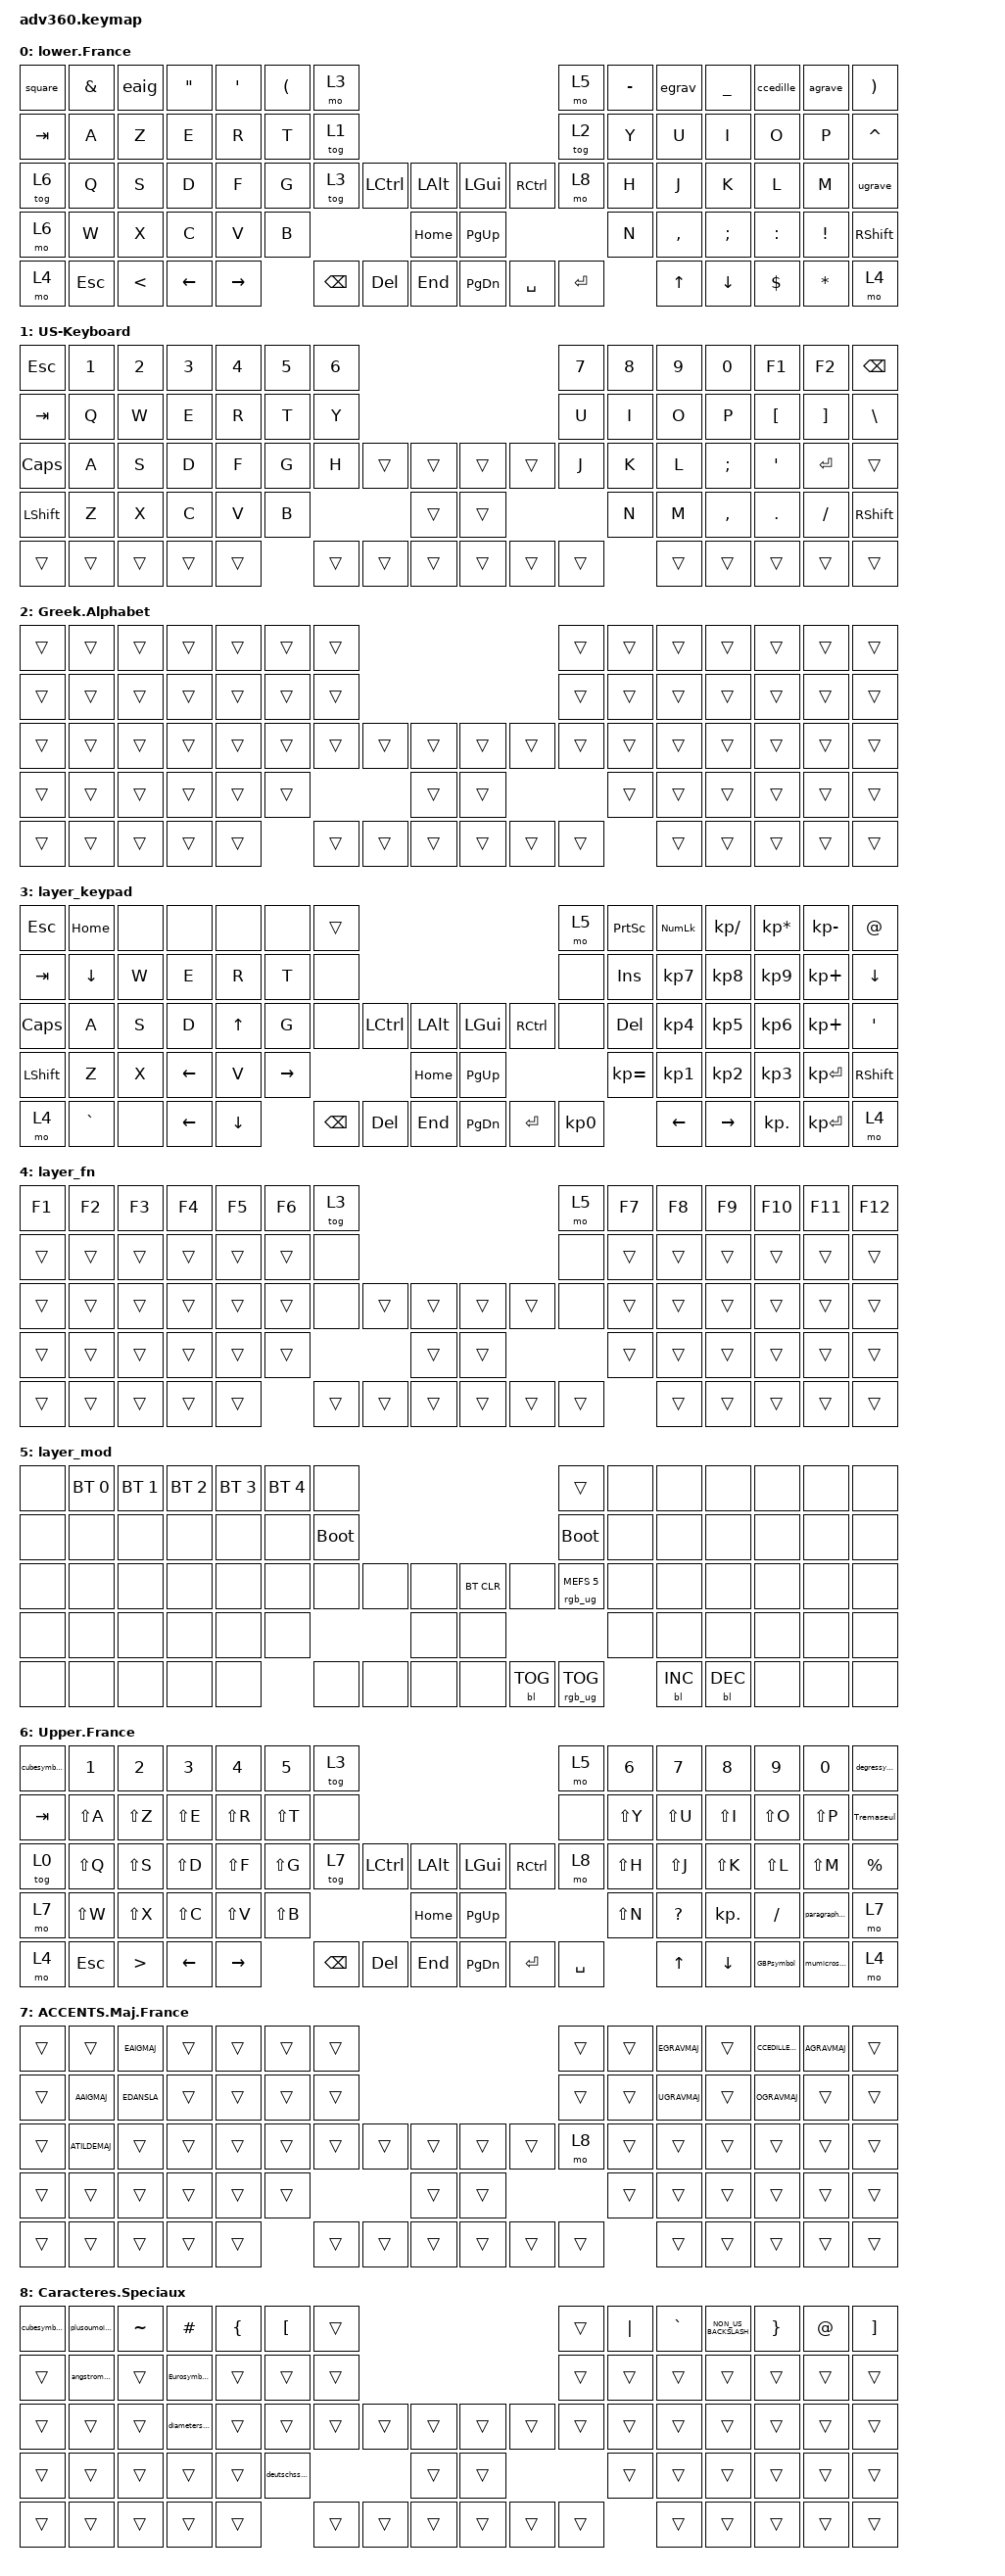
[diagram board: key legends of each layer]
/*
 * Copyright (c) 2020 The ZMK Contributors
 *
 * SPDX-License-Identifier: MIT
 */
/* THIS FILE WAS GENERATED!
 *
 * This file was generated automatically. You may or may not want to
 * edit it directly.
 */

#include <behaviors.dtsi>
#include <dt-bindings/zmk/backlight.h>
#include <dt-bindings/zmk/bt.h>
#include <dt-bindings/zmk/keys.h>
#include <dt-bindings/zmk/rgb.h>

/ {
    behaviors {
        #include "macros.dtsi"

        hm: homerow_mods {
            compatible = "zmk,behavior-hold-tap";
            label = "HOMEROW_MODS";
            #binding-cells = <2>;
            tapping-term-ms = <200>;
            quick_tap_ms = <175>;
            flavor = "tap-preferred";
            bindings = <&kp>, <&kp>;
        };
    };

    macros {
        eaig: eaig {
            compatible = "zmk,behavior-macro";
            #binding-cells = <0>;
            bindings = <>;
            label = "EAIG";
        };

        egrav: egrav {
            compatible = "zmk,behavior-macro";
            #binding-cells = <0>;
            bindings = <>;
            label = "EGRAV";
        };

        ccedille: ccedille {
            compatible = "zmk,behavior-macro";
            #binding-cells = <0>;
            bindings = <>;
            label = "CCEDILLE";
        };

        agrave: agrave {
            compatible = "zmk,behavior-macro";
            #binding-cells = <0>;
            bindings = <>;
            label = "AGRAVE";
        };

        ugrave: ugrave {
            compatible = "zmk,behavior-macro";
            #binding-cells = <0>;
            bindings = <>;
            label = "UGRAVE";
        };

        square: square {
            compatible = "zmk,behavior-macro";
            #binding-cells = <0>;
            bindings = <>;
            label = "SQUARE";
        };

        GBPsymbol: GBPsign {
            compatible = "zmk,behavior-macro";
            #binding-cells = <0>;
            bindings = <>;
            label = "GBPSIGN";
        };

        mumicrosymbol: mumicrosymbol {
            compatible = "zmk,behavior-macro";
            #binding-cells = <0>;
            bindings = <>;
            label = "MUMICROSYMBOL";
        };

        paragraphsymbol: paragraphsymbol {
            compatible = "zmk,behavior-macro";
            #binding-cells = <0>;
            bindings = <>;
            label = "PARAGRAPHSYMBOL";
        };

        EAIGMAJ: EAIGMAJ {
            compatible = "zmk,behavior-macro";
            #binding-cells = <0>;
            bindings = <>;
            label = "EAIGMAJ";
        };

        EGRAVMAJ: EGRAVMAJ {
            compatible = "zmk,behavior-macro";
            #binding-cells = <0>;
            bindings = <>;
            label = "EGRAVMAJ";
        };

        AGRAVMAJ: AGRAVMAJ {
            compatible = "zmk,behavior-macro";
            #binding-cells = <0>;
            bindings = <>;
            label = "AGRAVMAJ";
        };

        ETREMAMAJ: ETREMAMAJ {
            compatible = "zmk,behavior-macro";
            #binding-cells = <0>;
            bindings = <>;
            label = "ETREMAMAJ";
        };

        UGRAVMAJ: UGRAVMAJ {
            compatible = "zmk,behavior-macro";
            #binding-cells = <0>;
            bindings = <>;
            label = "UGRAVMAJ";
        };

        OGRAVMAJ: OGRAVMAJ {
            compatible = "zmk,behavior-macro";
            #binding-cells = <0>;
            bindings = <>;
            label = "OGRAVMAJ";
        };

        CCEDILLEMAJ: CCEDILLEMAJ {
            compatible = "zmk,behavior-macro";
            #binding-cells = <0>;
            bindings = <>;
            label = "CCEDILLEMAJ";
        };

        EDANSLA: EDANSLA {
            compatible = "zmk,behavior-macro";
            #binding-cells = <0>;
            bindings = <>;
            label = "EDANSLA";
        };

        AAIGMAJ: AAIGMAJ {
            compatible = "zmk,behavior-macro";
            #binding-cells = <0>;
            bindings = <>;
            label = "AAIGMAJ";
        };

        ATILDEMAJ: ATILDEMAJ {
            compatible = "zmk,behavior-macro";
            #binding-cells = <0>;
            bindings = <>;
            label = "ATILDEMAJ";
        };

        Tremaseul: Tremaseul {
            compatible = "zmk,behavior-macro";
            #binding-cells = <0>;
            bindings = <>;
            label = "TREMASEUL";
        };

        degressymbole: degressymbole {
            compatible = "zmk,behavior-macro";
            #binding-cells = <0>;
            bindings = <>;
            label = "DEGRESSYMBOLE";
        };

        Tildeseul: Tildeseul {
            compatible = "zmk,behavior-macro";
            #binding-cells = <0>;
            bindings = <&kp TILDE>;
            label = "TILDESEUL";
        };

        plusoumoinssymbole: plusoumoinssymbole {
            compatible = "zmk,behavior-macro";
            #binding-cells = <0>;
            bindings = <>;
            label = "PLUSOUMOINSSYMBOLE";
        };

        cubesymbole: cubesymbole {
            compatible = "zmk,behavior-macro";
            #binding-cells = <0>;
            bindings = <>;
            label = "CUBESYMBOLE";
        };

        Eurosymbole: Eurosymbole {
            compatible = "zmk,behavior-macro";
            #binding-cells = <0>;
            bindings = <>;
            label = "EUROSYMBOLE";
        };

        angstromsymbole: angstromsymbole {
            compatible = "zmk,behavior-macro";
            #binding-cells = <0>;
            bindings = <>;
            label = "ANGSTROMSYMBOLE";
        };

        diametersymbol: diametersymbol {
            compatible = "zmk,behavior-macro";
            #binding-cells = <0>;
            bindings = <>;
            label = "DIAMETERSYMBOL";
        };

        deutschssetletter: litersymbol {
            compatible = "zmk,behavior-macro";
            #binding-cells = <0>;
            bindings = <>;
            label = "LITERSYMBOL";
        };

        edanslamin: edanslamin {
            compatible = "zmk,behavior-macro";
            #binding-cells = <0>;
            bindings = <>;
            label = "EDANSLAMIN";
        };

        edanslomin: edanslomin {
            compatible = "zmk,behavior-macro";
            #binding-cells = <0>;
            bindings = <>;
            label = "EDANSLOMIN";
        };
    };

    combos {
        compatible = "zmk,combos";

        edanslamin {
            bindings = <&edanslamin>;
            key-positions = <15 17>;
        };

        edanslomin {
            bindings = <&edanslomin>;
            key-positions = <17 25>;
        };
    };

    keymap {
        compatible = "zmk,keymap";

        lower.France {
            bindings = <
&square  &kp AMPERSAND  &eaig          &kp DOUBLE_QUOTES  &kp APOS   &kp LEFT_PARENTHESIS  &mo 3                                                    &mo 5      &kp MINUS  &egrav     &kp UNDERSCORE  &ccedille   &agrave    &kp RIGHT_PARENTHESIS
&kp TAB  &kp A          &kp Z          &kp E              &kp R      &kp T                 &tog 1                                                   &tog 2     &kp Y      &kp U      &kp I           &kp O       &kp P      &kp CARET
&tog 6   &kp Q          &kp S          &kp D              &kp F      &kp G                 &tog 3    &kp LCTRL  &kp LALT      &kp LGUI   &kp RCTRL  &mo 8      &kp H      &kp J      &kp K           &kp L       &kp M      &ugrave
&mo 6    &kp W          &kp X          &kp C              &kp V      &kp B                                      &kp HOME      &kp PG_UP                        &kp N      &kp COMMA  &kp SEMICOLON   &kp COLON   &kp EXCL   &kp RSHFT
&mo 4    &kp ESC        &kp LESS_THAN  &kp LEFT           &kp RIGHT                        &kp BSPC  &kp DEL    &kp END       &kp PG_DN  &kp SPACE  &kp ENTER             &kp UP     &kp DOWN        &kp DOLLAR  &kp ASTRK  &mo 4
            >;
        };

        US-Keyboard {
            bindings = <
&kp ESC    &kp N1  &kp N2  &kp N3  &kp N4  &kp N5  &kp N6                                      &kp N7  &kp N8  &kp N9  &kp N0     &kp F1    &kp F2     &kp BSPC
&kp TAB    &kp Q   &kp W   &kp E   &kp R   &kp T   &kp Y                                       &kp U   &kp I   &kp O   &kp P      &kp LBKT  &kp RBKT   &kp BSLH
&kp CAPS   &kp A   &kp S   &kp D   &kp F   &kp G   &kp H   &trans  &trans      &trans  &trans  &kp J   &kp K   &kp L   &kp SEMI   &kp APOS  &kp ENTER  &trans
&kp LSHFT  &kp Z   &kp X   &kp C   &kp V   &kp B                   &trans      &trans                  &kp N   &kp M   &kp COMMA  &kp DOT   &kp FSLH   &kp RSHFT
&trans     &trans  &trans  &trans  &trans          &trans  &trans  &trans      &trans  &trans  &trans          &trans  &trans     &trans    &trans     &trans
            >;
        };

        Greek.Alphabet {
            bindings = <
&trans  &trans  &trans  &trans  &trans  &trans  &trans                                      &trans  &trans  &trans  &trans  &trans  &trans  &trans
&trans  &trans  &trans  &trans  &trans  &trans  &trans                                      &trans  &trans  &trans  &trans  &trans  &trans  &trans
&trans  &trans  &trans  &trans  &trans  &trans  &trans  &trans  &trans      &trans  &trans  &trans  &trans  &trans  &trans  &trans  &trans  &trans
&trans  &trans  &trans  &trans  &trans  &trans                  &trans      &trans                  &trans  &trans  &trans  &trans  &trans  &trans
&trans  &trans  &trans  &trans  &trans          &trans  &trans  &trans      &trans  &trans  &trans          &trans  &trans  &trans  &trans  &trans
            >;
        };

        layer_keypad {
            bindings = <
&kp ESCAPE    &kp HOME        &none  &none           &none         &none      &trans                                                   &mo 5      &kp PRINTSCREEN  &kp KP_NUM  &kp KP_SLASH  &kp KP_MULTIPLY  &kp KP_MINUS  &kp AT
&kp TAB       &kp DOWN_ARROW  &kp W  &kp E           &kp R         &kp T      &none                                                    &none      &kp INS          &kp KP_N7   &kp KP_N8     &kp KP_N9        &kp KP_PLUS   &kp DOWN
&kp CAPSLOCK  &kp A           &kp S  &kp D           &kp UP_ARROW  &kp G      &none     &kp LCTRL  &kp LALT      &kp LGUI   &kp RCTRL  &none      &kp DEL          &kp KP_N4   &kp KP_N5     &kp KP_N6        &kp KP_PLUS   &kp SQT
&kp LSHFT     &kp Z           &kp X  &kp LEFT_ARROW  &kp V         &kp RIGHT                       &kp HOME      &kp PG_UP                        &kp KP_EQUAL     &kp KP_N1   &kp KP_N2     &kp KP_N3        &kp KP_ENTER  &kp RSHFT
&mo 4         &kp GRAVE       &none  &kp LEFT        &kp DOWN                 &kp BSPC  &kp DEL    &kp END       &kp PG_DN  &kp ENTER  &kp KP_N0                   &kp LEFT    &kp RIGHT     &kp KP_DOT       &kp KP_ENTER  &mo 4
            >;
        };

        layer_fn {
            bindings = <
&kp F1  &kp F2  &kp F3  &kp F4  &kp F5  &kp F6  &tog 3                                      &mo 5   &kp F7  &kp F8  &kp F9  &kp F10  &kp F11  &kp F12
&trans  &trans  &trans  &trans  &trans  &trans  &none                                       &none   &trans  &trans  &trans  &trans   &trans   &trans
&trans  &trans  &trans  &trans  &trans  &trans  &none   &trans  &trans      &trans  &trans  &none   &trans  &trans  &trans  &trans   &trans   &trans
&trans  &trans  &trans  &trans  &trans  &trans                  &trans      &trans                  &trans  &trans  &trans  &trans   &trans   &trans
&trans  &trans  &trans  &trans  &trans          &trans  &trans  &trans      &trans  &trans  &trans          &trans  &trans  &trans   &trans   &trans
            >;
        };

        layer_mod {
            bindings = <
&none  &bt BT_SEL 0  &bt BT_SEL 1  &bt BT_SEL 2  &bt BT_SEL 3  &bt BT_SEL 4  &none                                                  &trans                  &none  &none       &none       &none  &none  &none
&none  &none         &none         &none         &none         &none         &bootloader                                            &bootloader             &none  &none       &none       &none  &none  &none
&none  &none         &none         &none         &none         &none         &none        &none  &none      &bt BT_CLR  &none       &rgb_ug RGB_MEFS_CMD 5  &none  &none       &none       &none  &none  &none
&none  &none         &none         &none         &none         &none                             &none      &none                                           &none  &none       &none       &none  &none  &none
&none  &none         &none         &none         &none                       &none        &none  &none      &none       &bl BL_TOG  &rgb_ug RGB_TOG                &bl BL_INC  &bl BL_DEC  &none  &none  &none
            >;
        };

        Upper.France {
            bindings = <
&cubesymbole  &kp N1      &kp N2            &kp N3     &kp N4     &kp N5     &tog 3                                                   &mo 5      &kp N6     &kp N7        &kp N8      &kp N9      &kp N0            &degressymbole
&kp TAB       &kp LS(A)   &kp LS(Z)         &kp LS(E)  &kp LS(R)  &kp LS(T)  &none                                                    &none      &kp LS(Y)  &kp LS(U)     &kp LS(I)   &kp LS(O)   &kp LS(P)         &Tremaseul
&tog 0        &kp LS(Q)   &kp LS(S)         &kp LS(D)  &kp LS(F)  &kp LS(G)  &tog 7    &kp LCTRL  &kp LALT      &kp LGUI   &kp RCTRL  &mo 8      &kp LS(H)  &kp LS(J)     &kp LS(K)   &kp LS(L)   &kp LS(M)         &kp PERCENT
&mo 7         &kp LS(W)   &kp LS(X)         &kp LS(C)  &kp LS(V)  &kp LS(B)                       &kp HOME      &kp PG_UP                        &kp LS(N)  &kp QUESTION  &kp KP_DOT  &kp FSLH    &paragraphsymbol  &mo 7
&mo 4         &kp ESCAPE  &kp GREATER_THAN  &kp LEFT   &kp RIGHT             &kp BSPC  &kp DEL    &kp END       &kp PG_DN  &kp ENTER  &kp SPACE             &kp UP        &kp DOWN    &GBPsymbol  &mumicrosymbol    &mo 4
            >;
        };

        ACCENTS.Maj.France {
            bindings = <
&trans  &trans      &EAIGMAJ  &trans  &trans  &trans  &trans                                      &trans  &trans  &EGRAVMAJ  &trans  &CCEDILLEMAJ  &AGRAVMAJ  &trans
&trans  &AAIGMAJ    &EDANSLA  &trans  &trans  &trans  &trans                                      &trans  &trans  &UGRAVMAJ  &trans  &OGRAVMAJ     &trans     &trans
&trans  &ATILDEMAJ  &trans    &trans  &trans  &trans  &trans  &trans  &trans      &trans  &trans  &mo 8   &trans  &trans     &trans  &trans        &trans     &trans
&trans  &trans      &trans    &trans  &trans  &trans                  &trans      &trans                  &trans  &trans     &trans  &trans        &trans     &trans
&trans  &trans      &trans    &trans  &trans          &trans  &trans  &trans      &trans  &trans  &trans          &trans     &trans  &trans        &trans     &trans
            >;
        };

        Caracteres.Speciaux {
            bindings = <
&cubesymbole  &plusoumoinssymbole  &kp TILDE  &kp POUND        &kp LEFT_BRACE  &kp LEFT_BRACKET    &trans                                      &trans  &kp PIPE  &kp GRAVE  &kp NON_US_BACKSLASH  &kp RIGHT_BRACE  &kp AT_SIGN  &kp RIGHT_BRACKET
&trans        &angstromsymbole     &trans     &Eurosymbole     &trans          &trans              &trans                                      &trans  &trans    &trans     &trans                &trans           &trans       &trans
&trans        &trans               &trans     &diametersymbol  &trans          &trans              &trans  &trans  &trans      &trans  &trans  &trans  &trans    &trans     &trans                &trans           &trans       &trans
&trans        &trans               &trans     &trans           &trans          &deutschssetletter                  &trans      &trans                  &trans    &trans     &trans                &trans           &trans       &trans
&trans        &trans               &trans     &trans           &trans                              &trans  &trans  &trans      &trans  &trans  &trans            &trans     &trans                &trans           &trans       &trans
            >;
        };
    };

    conditional_layers { compatible = "zmk,conditional-layers"; };
};
